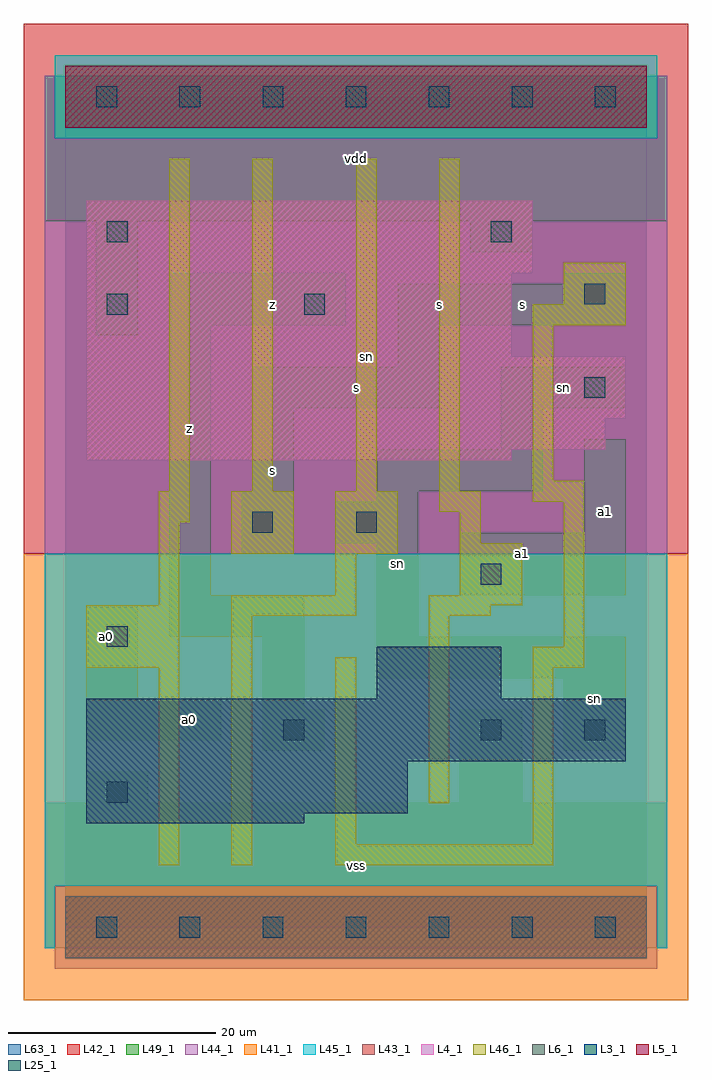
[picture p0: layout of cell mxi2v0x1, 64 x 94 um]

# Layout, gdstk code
import gdstk
lib = gdstk.Library(unit=1e-6, precision=1e-09)
def R(c, l, rs):  # rectangles x0, y0, x1, y1
    for r in rs: c.add(gdstk.rectangle(r[:2], r[2:], *l))
def A(c, l, x, y, w, h, nx, ny, dx, dy):  # array of equal rectangles
    R(c, l, [(x+i*dx, y+j*dy, x+i*dx+w, y+j*dy+h) for i in range(nx) for j in range(ny)])
L3_1 = (3, 1)
L4_1 = (4, 1)
L5_1 = (5, 1)
L6_1 = (6, 1)
L25_1 = (25, 1)
L41_1 = (41, 1)
L42_1 = (42, 1)
L43_1 = (43, 1)
L44_1 = (44, 1)
L45_1 = (45, 1)
L46_1 = (46, 1)
L49_1 = (49, 1)
L63_1 = (63, 1)

mxi2v0x1 = lib.new_cell('mxi2v0x1')
R(mxi2v0x1, L3_1, [(2,10,23,11), (2,11,33,16), (2,16,54,22), (30,22,42,27)])
R(mxi2v0x1, L4_1, [(2,45,43,46), (2,46,52,49), (2,49,54,55), (2,55,43,63), (2,63,45,70)])
R(mxi2v0x1, L5_1, [(0,77,56,83)])
R(mxi2v0x1, L6_1, [(0,-3,56,3), (0,-3,56,3)])
A(mxi2v0x1, L25_1, 3, -1, 2, 2, 7, 2, 8, 80)
R(mxi2v0x1, L25_1, [(4,12,6,14), (21,18,23,20), (40,18,42,20), (50,18,52,20), (4,27,6,29), (40,33,42,35), (18,38,20,40), (28,38,30,40), (50,51,52,53), (4,59,6,61), (23,59,25,61), (50,60,52,62), (4,66,6,68), (41,66,43,68)])
R(mxi2v0x1, L41_1, [(-4,-7,60,36)])
R(mxi2v0x1, L42_1, [(-4,36,60,87)])
R(mxi2v0x1, L43_1, [(0,-3,56,3), (2,10,23,11), (2,11,33,16), (2,16,54,22), (30,22,42,27), (2,45,43,46), (2,46,52,49), (2,49,54,55), (2,55,43,63), (2,63,45,70), (0,77,56,83)])
R(mxi2v0x1, L44_1, [(-1,-4,57,4), (-2,36,58,76), (-2,76,-1,82), (57,76,58,82)])
R(mxi2v0x1, L45_1, [(-2,-2,-1,4), (57,-2,58,4), (-2,4,58,36), (-1,76,57,84)])
R(mxi2v0x1, L46_1, [(9,6,11,25), (16,6,18,30), (26,6,47,8), (26,8,28,26), (45,8,47,25), (35,12,37,30), (2,25,11,31), (45,25,50,27), (48,27,50,41), (16,30,28,32), (35,30,41,31), (9,31,11,39), (35,31,44,32), (26,32,28,36), (38,32,44,37), (16,36,22,42), (26,36,32,42), (38,37,40,40), (9,39,12,42), (36,40,40,42), (45,41,50,43), (10,42,12,74), (18,42,20,74), (28,42,30,74), (36,42,38,74), (45,43,47,58), (45,58,54,60), (48,60,54,64)])
R(mxi2v0x1, L49_1, [(-2,-2,58,12), (2,12,8,15), (38,12,44,21), (19,17,25,21), (48,17,54,24), (2,18,15,22), (19,21,23,28), (2,22,7,31), (30,24,54,28), (10,28,23,32), (30,28,34,37), (10,32,14,58), (38,32,54,38), (17,36,22,42), (26,37,34,41), (50,38,54,47), (30,41,34,42), (18,42,22,50), (30,42,46,46), (42,46,46,50), (18,50,36,54), (42,50,54,54), (32,54,36,58), (3,57,7,68), (10,58,27,63), (32,58,54,62), (48,62,54,63), (39,65,45,68), (-2,68,58,82)])
R(mxi2v0x1, L63_1, [(0,0,56,80)])
mxi2v0x1.add(gdstk.Label('sn', (29,55), layer=46, texttype=1))
mxi2v0x1.add(gdstk.Label('a0', (4,28), layer=49, texttype=1))
mxi2v0x1.add(gdstk.Label('a0', (12,20), layer=49, texttype=1))
mxi2v0x1.add(gdstk.Label('z', (12,48), layer=49, texttype=1))
mxi2v0x1.add(gdstk.Label('vss', (28,6), layer=49, texttype=1))
mxi2v0x1.add(gdstk.Label('sn', (32,35), layer=49, texttype=1))
mxi2v0x1.add(gdstk.Label('s', (20,44), layer=49, texttype=1))
mxi2v0x1.add(gdstk.Label('s', (28,52), layer=49, texttype=1))
mxi2v0x1.add(gdstk.Label('z', (20,60), layer=49, texttype=1))
mxi2v0x1.add(gdstk.Label('vdd', (28,74), layer=49, texttype=1))
mxi2v0x1.add(gdstk.Label('a1', (44,36), layer=49, texttype=1))
mxi2v0x1.add(gdstk.Label('s', (36,60), layer=49, texttype=1))
mxi2v0x1.add(gdstk.Label('s', (44,60), layer=49, texttype=1))
mxi2v0x1.add(gdstk.Label('sn', (51,22), layer=49, texttype=1))
mxi2v0x1.add(gdstk.Label('a1', (52,40), layer=49, texttype=1))
mxi2v0x1.add(gdstk.Label('sn', (48,52), layer=49, texttype=1))

lib.write_gds('mxi2v0x1.gds')
